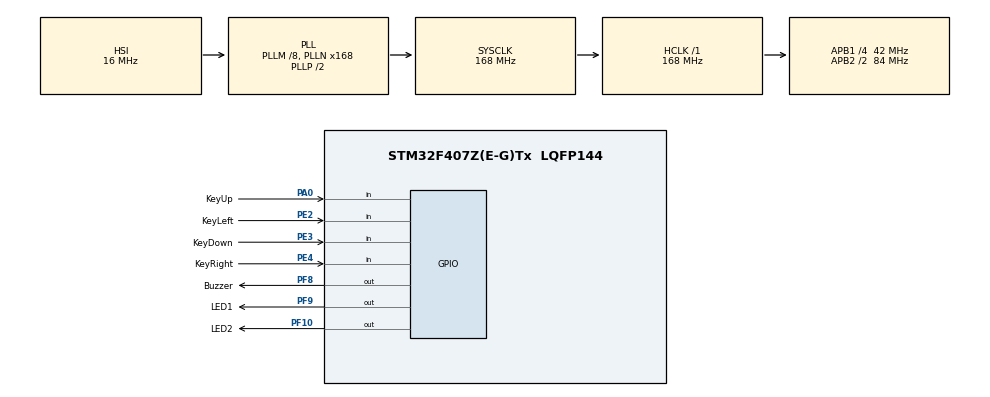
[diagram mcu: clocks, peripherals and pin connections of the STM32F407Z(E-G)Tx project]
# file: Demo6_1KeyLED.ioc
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Mcu.Family=STM32F4
Mcu.Name=STM32F407Z(E-G)Tx
Mcu.Package=LQFP144
NVIC.PriorityGroup=NVIC_PRIORITYGROUP_4
PA0-WKUP.GPIO_Label=KeyUp
PA0-WKUP.GPIO_PuPd=GPIO_PULLDOWN
PA0-WKUP.Signal=GPIO_Input
PA13.Mode=Serial_Wire
PA13.Signal=SYS_JTMS-SWDIO
PA14.Mode=Serial_Wire
PA14.Signal=SYS_JTCK-SWCLK
PE2.GPIO_Label=KeyLeft
PE2.GPIO_PuPd=GPIO_PULLUP
PE2.Signal=GPIO_Input
PE3.GPIO_Label=KeyDown
PE3.GPIO_PuPd=GPIO_PULLUP
PE3.Signal=GPIO_Input
PE4.GPIO_Label=KeyRight
PE4.GPIO_PuPd=GPIO_PULLUP
PE4.Signal=GPIO_Input
PF10.GPIO_Label=LED2
PF10.Signal=GPIO_Output
PF8.GPIO_Label=Buzzer
PF8.GPIO_PuPd=GPIO_PULLDOWN
PF8.GPIO_Speed=GPIO_SPEED_FREQ_HIGH
PF8.PinState=GPIO_PIN_SET
PF8.Signal=GPIO_Output
PF9.GPIO_Label=LED1
PF9.Signal=GPIO_Output
PH0-OSC_IN.Mode=HSE-External-Oscillator
PH0-OSC_IN.Signal=RCC_OSC_IN
PH1-OSC_OUT.Mode=HSE-External-Oscillator
PH1-OSC_OUT.Signal=RCC_OSC_OUT
ProjectManager.HeapSize=0x200
ProjectManager.StackSize=0x400
ProjectManager.TargetToolchain=STM32CubeIDE
RCC.48MHZClocksFreq_Value=84000000
RCC.AHBFreq_Value=168000000
RCC.APB1CLKDivider=RCC_HCLK_DIV4
RCC.APB1Freq_Value=42000000
RCC.APB1TimFreq_Value=84000000
RCC.APB2CLKDivider=RCC_HCLK_DIV2
RCC.APB2Freq_Value=84000000
RCC.APB2TimFreq_Value=168000000
RCC.CortexFreq_Value=168000000
RCC.HCLKFreq_Value=168000000
RCC.HSE_VALUE=8000000
RCC.HSI_VALUE=16000000
RCC.LSE_VALUE=32768
RCC.PLLM=8
RCC.PLLN=168
RCC.SYSCLKFreq_VALUE=168000000
RCC.SYSCLKSource=RCC_SYSCLKSOURCE_PLLCLK
RCC.VCOOutputFreq_Value=336000000
board=custom

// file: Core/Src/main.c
/* USER CODE BEGIN Header */
/**
  ******************************************************************************
  * @file           : main.c
  * @brief          : Main program body
  ******************************************************************************
  * @attention
  *
  * Copyright (c) 2022 STMicroelectronics.
  * All rights reserved.
  *
  * This software is licensed under terms that can be found in the LICENSE file
  * in the root directory of this software component.
  * If no LICENSE file comes with this software, it is provided AS-IS.
  *
  ******************************************************************************
  */
/* USER CODE END Header */
#include "main.h"
#include "gpio.h"

/* USER CODE BEGIN Includes */
#include "keyled.h"
/* USER CODE END Includes */

void SystemClock_Config(void);

int main(void)
{

  /* MCU Configuration--------------------------------------------------------*/

  /* Reset of all peripherals, Initializes the Flash interface and the Systick. */
  HAL_Init();

  /* Configure the system clock */
  SystemClock_Config();

  /* Initialize all configured peripherals */
  MX_GPIO_Init();

  /* Infinite loop */
  /* USER CODE BEGIN WHILE */
  while (1)
  {
	  KEYS curKey = ScanPressedKey(KEY_WAIT_ALWAYS);
      switch (curKey)
	  {
	  case KEY_RIGHT:
		  LED1_Toggle();
		  break;
	  case KEY_DOWN:
		  LED2_Toggle();
		  break;
	  case KEY_LEFT:
		  LED1_Toggle();
		  LED2_Toggle();
		  break;
	  case KEY_UP:
		  Buzzer_Toggle();
		  break;
	  default:
		  break;
	  }
	  HAL_Delay(200);
    /* USER CODE END WHILE */

  }
}

void SystemClock_Config(void)
{
  RCC_OscInitTypeDef RCC_OscInitStruct = {0};
  RCC_ClkInitTypeDef RCC_ClkInitStruct = {0};

  /** Configure the main internal regulator output voltage
  */
  __HAL_RCC_PWR_CLK_ENABLE();
  __HAL_PWR_VOLTAGESCALING_CONFIG(PWR_REGULATOR_VOLTAGE_SCALE1);

  /** Initializes the RCC Oscillators according to the specified parameters
  * in the RCC_OscInitTypeDef structure.
  */
  RCC_OscInitStruct.OscillatorType = RCC_OSCILLATORTYPE_HSI;
  RCC_OscInitStruct.HSIState = RCC_HSI_ON;
  RCC_OscInitStruct.HSICalibrationValue = RCC_HSICALIBRATION_DEFAULT;
  RCC_OscInitStruct.PLL.PLLState = RCC_PLL_ON;
  RCC_OscInitStruct.PLL.PLLSource = RCC_PLLSOURCE_HSI;
  RCC_OscInitStruct.PLL.PLLM = 8;
  RCC_OscInitStruct.PLL.PLLN = 168;
  RCC_OscInitStruct.PLL.PLLP = RCC_PLLP_DIV2;
  RCC_OscInitStruct.PLL.PLLQ = 4;
  if (HAL_RCC_OscConfig(&RCC_OscInitStruct) != HAL_OK)
  {
    Error_Handler();
  }

  /** Initializes the CPU, AHB and APB buses clocks
  */
  RCC_ClkInitStruct.ClockType = RCC_CLOCKTYPE_HCLK|RCC_CLOCKTYPE_SYSCLK
                              |RCC_CLOCKTYPE_PCLK1|RCC_CLOCKTYPE_PCLK2;
  RCC_ClkInitStruct.SYSCLKSource = RCC_SYSCLKSOURCE_PLLCLK;
  RCC_ClkInitStruct.AHBCLKDivider = RCC_SYSCLK_DIV1;
  RCC_ClkInitStruct.APB1CLKDivider = RCC_HCLK_DIV4;
  RCC_ClkInitStruct.APB2CLKDivider = RCC_HCLK_DIV2;

  if (HAL_RCC_ClockConfig(&RCC_ClkInitStruct, FLASH_LATENCY_5) != HAL_OK)
  {
    Error_Handler();
  }
}

void Error_Handler(void)
{
  __disable_irq();
  while (1)
  {
  }
}
